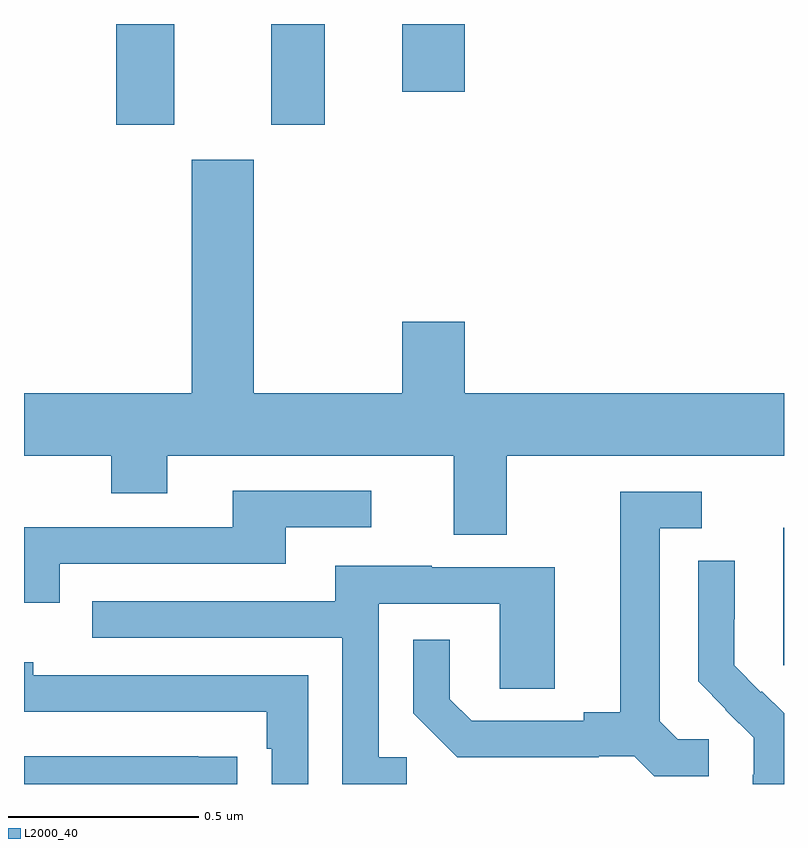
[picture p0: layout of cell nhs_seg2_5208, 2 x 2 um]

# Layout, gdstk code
import gdstk
lib = gdstk.Library(unit=1e-6, precision=1e-09)
def R(c, l, rs):  # rectangles x0, y0, x1, y1
    for r in rs: c.add(gdstk.rectangle(r[:2], r[2:], *l))
def P(c, l, *ps):  # polygons
    for p in ps: c.add(gdstk.Polygon(p, *l))
L2000_40 = (2000, 40)

nhs_seg2_5208 = lib.new_cell('nhs_seg2_5208')
R(nhs_seg2_5208, L2000_40, [(177.998,619.113,178,619.474), (176.243,620.535,176.395,620.8), (176.651,620.535,176.791,620.8), (176.996,620.622,177.16,620.8)])
P(nhs_seg2_5208, L2000_40, [(177.271,619.664),(178,619.664),(178,619.828),(177.16,619.828),(177.16,620.017),(176.996,620.017),(176.996,619.828),(176.605,619.828),(176.605,620.443),(176.441,620.443),(176.441,619.828),(176,619.828),(176,619.664),(176.23,619.664),(176.23,619.565),(176.377,619.565),(176.377,619.664),(177.131,619.664),(177.131,619.456),(177.271,619.456)],
  [(176.094,619.38),(176.689,619.38),(176.689,619.476),(176.914,619.476),(176.914,619.572),(176.549,619.572),(176.549,619.476),(176,619.476),(176,619.277),(176.094,619.277)],
  [(177.802,618.918),(177.72,618.918),(177.673,618.965),(177.673,619.473),(177.784,619.473),(177.784,619.569),(177.569,619.569),(177.569,618.989),(177.473,618.989),(177.473,618.966),(177.178,618.966),(177.121,619.023),(177.121,619.18),(177.024,619.18),(177.024,618.986),(177.14,618.87),(177.512,618.87),(177.512,618.873),(177.606,618.873),(177.658,618.821),(177.802,618.821)],
  [(178,618.986),(177.942,619.044),(177.939,619.041),(177.869,619.112),(177.869,619.234),(177.87,619.234),(177.87,619.388),(177.774,619.388),(177.774,619.07),(177.847,618.997),(177.846,618.996),(177.92,618.922),(177.92,618.825),(177.918,618.825),(177.918,618.8),(178,618.8)],
  [(177.007,618.87),(176.934,618.87),(176.934,619.275),(177.252,619.275),(177.252,619.051),(177.397,619.051),(177.397,619.371),(177.073,619.371),(177.073,619.375),(176.819,619.375),(176.819,619.281),(176.179,619.281),(176.179,619.185),(176.838,619.185),(176.838,618.8),(177.007,618.8)],
  [(176.748,619.086),(176.024,619.086),(176.024,619.12),(176,619.12),(176,618.99),(176.639,618.99),(176.639,618.893),(176.652,618.893),(176.652,618.8),(176.748,618.8)],
  [(176.561,618.872),(176.459,618.872),(176.459,618.873),(176,618.873),(176,618.8),(176.561,618.8)])

lib.write_gds('nhs_seg2_5208.gds')
